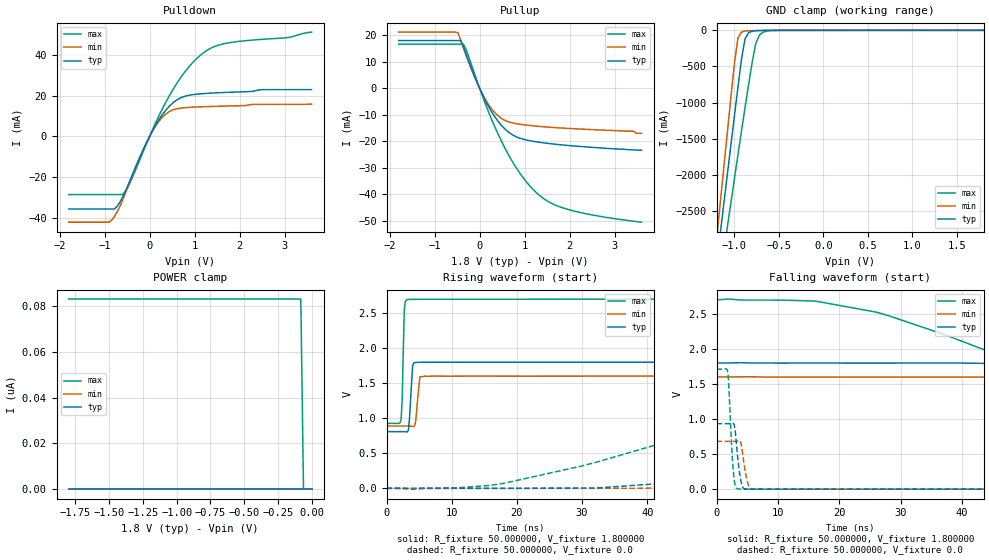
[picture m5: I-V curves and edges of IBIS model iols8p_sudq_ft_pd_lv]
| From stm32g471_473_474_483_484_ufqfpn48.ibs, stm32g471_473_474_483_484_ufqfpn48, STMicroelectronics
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|   Model iols8p_sudq_ft_pd_lv
[Model]  iols8p_sudq_ft_pd_lv
Model_type I/O
Polarity   Non-Inverting
Enable   Active-Low
Vinl =   0.540000V
Vinh =   1.260000V
Vmeas =  0.900000V
Cref =   50.000000pF
Rref =   100.000000M
Vref =   0.0V
C_comp   1.984800pF   1.899400pF   2.077500pF
[Temperature Range]   25.000000   -40.000000   0.125000k
[Pullup Reference]   1.800000V   1.600000V   2.700000V
[Pulldown Reference]   0.0V   0.0V   0.0V
[POWER Clamp Reference]   1.800000V   1.600000V   2.700000V
[GND Clamp Reference]   0.0V   0.0V   0.0V
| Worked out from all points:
|   slope of the pulldown table from 0 to 0.27 V, typ, clamps not added: 26.4 ohm
|   slope of the pullup table from 0 to 0.27 V, typ, clamps not added: 30.1 ohm
|   GND clamp passes 1 mA (typ) near -0.60 V on its own axis
|   rising waveform, R_fixture 50.000000, V_fixture 1.800000: 20-80 % time 379ps typ, 423ps min, 266ps max; typ from 0.808 V to 1.8 V
|   rising waveform, R_fixture 50.000000, V_fixture 0.0: 20-80 % time 67.1ns typ, 74.3ns min, 45.1ns max; typ from 0 V to 0.933 V
|   falling waveform, R_fixture 50.000000, V_fixture 1.800000: 20-80 % time 73ns typ, 83ns min, 37.6ns max; typ from 1.8 V to 0.808 V
|   falling waveform, R_fixture 50.000000, V_fixture 0.0: 20-80 % time 692ps typ, 757ps min, 595ps max; typ from 0.933 V to 0 V
[Pulldown]
|Voltage   I(typ)   I(min)   I(max)
-1.8V     -35.64mA   -42.15mA   -28.59mA
-900mV    -35.64mA   -42.15mA   -28.59mA
-780mV    -35.64mA   -39.2mA    -28.59mA
-600mV    -29.83mA   -31.31mA   -28.52mA
-420mV    -20.8mA    -21.07mA   -21.98mA
60mV      2.604mA    2.459mA    3.062mA
240mV     9.303mA    8.31mA     11.61mA
480mV     15.67mA    12.64mA    21.52mA
720mV     19.18mA    13.91mA    29.74mA
960mV     20.46mA    14.3mA     36.27mA
1.44V     21.29mA    14.7mA     44.06mA
3.6V      22.91mA    15.79mA    51.15mA
[Pullup]
|Voltage   I(typ)   I(min)   I(max)
-1.8V     18.05mA    21.25mA    16.71mA
-540mV    18.05mA    21.25mA    16.71mA
-480mV    18.05mA    20.95mA    16.71mA
-420mV    18.05mA    18.11mA    16.71mA
-360mV    15.57mA    15.21mA    16.71mA
60mV      -2.268mA   -2.095mA   -2.822mA
360mV     -11.31mA   -9.605mA   -15.45mA
600mV     -15.96mA   -12.42mA   -23.82mA
840mV     -18.52mA   -13.44mA   -30.72mA
1.38V     -20.52mA   -14.47mA   -41.14mA
2.1V      -21.8mA    -15.27mA   -46.39mA
3.6V      -23.4mA    -17mA      -50.6mA
[GND_clamp]
|Voltage   I(typ)   I(min)   I(max)
-1.8V     -9.477A    -9.805A    -9.016A
-1.2V     -3.243A    -2.9A      -3.759A
-1.16V    -2.83A     -2.409A    -3.417A
-1.12V    -2.418A    -1.919A    -3.076A
-1.08V    -2.008A    -1.431A    -2.736A
-1V       -1.194A    -466mA     -2.061A
-960mV    -792.8mA   -108.7mA   -1.727A
-920mV    -402mA     -24.36mA   -1.396A
-880mV    -117.8mA   -9.2mA     -1.071A
-760mV    -5.909mA   -2.892mA   -183.8mA
-680mV    -2.407mA   -1.111mA   -26.63mA
1.8V      47.61uA    33.87uA    60.56uA
[POWER_clamp]
|Voltage   I(typ)   I(min)   I(max)
-1.8V     0A         0A         83.17nA
-80mV     0A         0A         83.17nA
-60mV     0A         0A         0A
0V        0A         0A         0A
[Ramp]
| variable   typ   min   max
dV/dt_r  0.56030/67.04771n   0.40892/74.21097n   1.02690/44.96516n
dV/dt_f  0.59467/72.90760n   0.42644/82.87002n   1.06358/37.57082n
R_load = 50.000000
[Rising Waveform]
R_fixture= 50.000000
V_fixture= 1.800000
V_fixture_min= 1.600000
V_fixture_max= 2.700000
|time   V(typ)   V(min)   V(max)
0s        807.9mV    888.7mV    926.1mV
2.242ns   808mV      888.7mV    991.1mV
2.402ns   807.9mV    888.7mV    1.267V
2.723ns   807.2mV    888.7mV    2.536V
3.203ns   805.4mV    888.8mV    2.691V
4.004ns   1.746V     882.7mV    2.695V
4.484ns   1.794V     959.1mV    2.695V
5.125ns   1.797V     1.592V     2.695V
5.766ns   1.798V     1.599V     2.695V
79.76ns   1.799V     1.599V     2.699V
[Rising Waveform]
R_fixture= 50.000000
V_fixture= 0.0
V_fixture_min= 0.0
V_fixture_max= 0.0
|time   V(typ)   V(min)   V(max)
0s        2.012nV    1.787nV    174.5nV
18.02ns   -344.8uV   -50.09uV   71.38mV
32.03ns   3.824mV    -26.62uV   368.3mV
62.06ns   204.9mV    72.66mV    1.126V
80.08ns   382mV      156.4mV    1.425V
98.1ns    559.2mV    285.8mV    1.568V
138.1ns   787.9mV    493.3mV    1.675V
174.2ns   872mV      629.9mV    1.696V
240.2ns   928mV      674mV      1.71V
997ns     933.5mV    681.5mV    1.711V
[Falling Waveform]
R_fixture= 50.000000
V_fixture= 1.800000
V_fixture_min= 1.600000
V_fixture_max= 2.700000
|time   V(typ)   V(min)   V(max)
0s        1.799V     1.599V     2.699V
16.02ns   1.798V     1.598V     2.682V
26.03ns   1.798V     1.598V     2.524V
64.06ns   1.735V     1.598V     1.385V
76.08ns   1.645V     1.598V     1.183V
118.1ns   1.274V     1.513V     993.2mV
162.2ns   968.9mV    1.273V     950.7mV
214.2ns   864.7mV    1.023V     933.3mV
300.3ns   821mV      917.9mV    926.2mV
997ns     807.9mV    888.7mV    926.1mV
[Falling Waveform]
R_fixture= 50.000000
V_fixture= 0.0
V_fixture_min= 0.0
V_fixture_max= 0.0
|time   V(typ)   V(min)   V(max)
0s        933.5mV    681.5mV    1.711V
1.762ns   933.5mV    681.5mV    1.701V
1.922ns   933.4mV    681.5mV    1.598V
2.723ns   939.8mV    681.4mV    260.7mV
3.043ns   837.1mV    681mV      50.52mV
3.524ns   395.1mV    687.2mV    3.387mV
4.324ns   18.45mV    464.2mV    311.9uV
5.125ns   915.5uV    79.36mV    150.2uV
5.766ns   240.1uV    2.922mV    125.4uV
79.76ns   2.012nV    1.787nV    174.5nV
